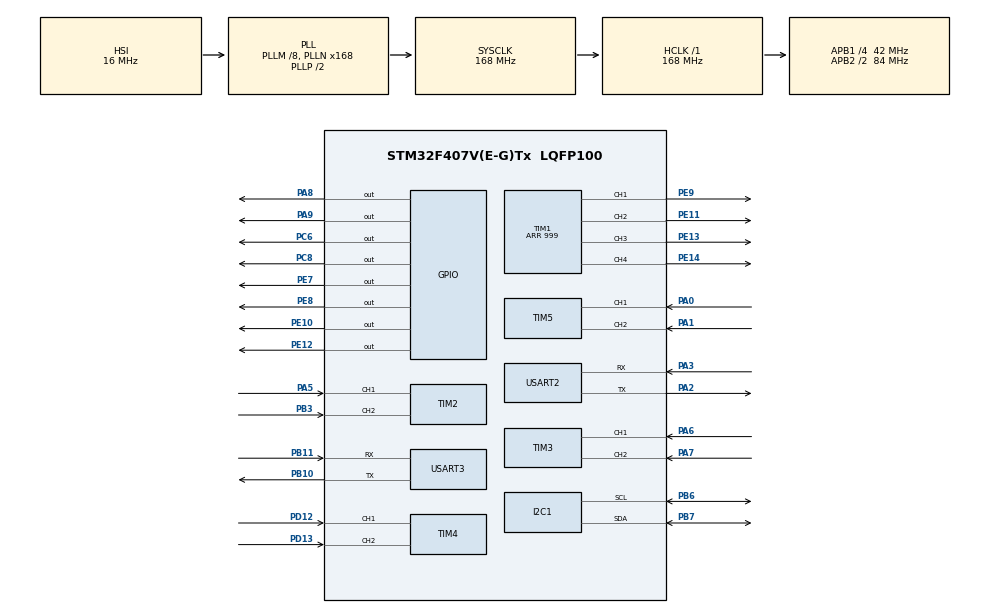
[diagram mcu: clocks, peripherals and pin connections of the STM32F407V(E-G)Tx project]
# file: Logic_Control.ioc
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Dma.Request0=USART2_RX
Dma.Request1=USART3_TX
Dma.USART2_RX.0.Direction=DMA_PERIPH_TO_MEMORY
Dma.USART2_RX.0.FIFOMode=DMA_FIFOMODE_DISABLE
Dma.USART2_RX.0.Instance=DMA1_Stream5
Dma.USART2_RX.0.MemDataAlignment=DMA_MDATAALIGN_BYTE
Dma.USART2_RX.0.MemInc=DMA_MINC_ENABLE
Dma.USART2_RX.0.Mode=DMA_CIRCULAR
Dma.USART2_RX.0.PeriphDataAlignment=DMA_PDATAALIGN_BYTE
Dma.USART2_RX.0.PeriphInc=DMA_PINC_DISABLE
Dma.USART2_RX.0.Priority=DMA_PRIORITY_LOW
Dma.USART3_TX.1.Direction=DMA_MEMORY_TO_PERIPH
Dma.USART3_TX.1.FIFOMode=DMA_FIFOMODE_DISABLE
Dma.USART3_TX.1.Instance=DMA1_Stream3
Dma.USART3_TX.1.MemDataAlignment=DMA_MDATAALIGN_BYTE
Dma.USART3_TX.1.MemInc=DMA_MINC_ENABLE
Dma.USART3_TX.1.Mode=DMA_CIRCULAR
Dma.USART3_TX.1.PeriphDataAlignment=DMA_PDATAALIGN_BYTE
Dma.USART3_TX.1.PeriphInc=DMA_PINC_DISABLE
Dma.USART3_TX.1.Priority=DMA_PRIORITY_LOW
FREERTOS.Queues01=Give_Data,16,uint16_t,0,Dynamic,NULL,NULL
FREERTOS.Tasks01=defaultTask,24,128,StartDefaultTask,Default,NULL,Dynamic,NULL,NULL;Send_Data,8,256,StartTask02,Default,NULL,Dynamic,NULL,NULL;Proccess_Data,8,512,StartTask03,Default,NULL,Dynamic,NULL,NULL
Mcu.Family=STM32F4
Mcu.Name=STM32F407V(E-G)Tx
Mcu.Package=LQFP100
NVIC.DMA1_Stream3_IRQn=true\:5\:0\:false\:false\:true\:true\:false\:true\:true
NVIC.DMA1_Stream5_IRQn=true\:5\:0\:false\:false\:true\:true\:false\:true\:true
NVIC.PriorityGroup=NVIC_PRIORITYGROUP_4
NVIC.TIM7_IRQn=true\:15\:0\:false\:false\:true\:false\:false\:true\:true
NVIC.TimeBase=TIM7_IRQn
NVIC.TimeBaseIP=TIM7
NVIC.USART2_IRQn=true\:5\:0\:false\:false\:true\:true\:true\:true\:true
NVIC.USART3_IRQn=true\:5\:0\:false\:false\:true\:true\:false\:true\:true
PA0-WKUP.Signal=S_TIM5_CH1
PA1.Signal=S_TIM5_CH2
PA13.Mode=Serial_Wire
PA13.Signal=SYS_JTMS-SWDIO
PA14.Mode=Serial_Wire
PA14.Signal=SYS_JTCK-SWCLK
PA2.Mode=Asynchronous
PA2.Signal=USART2_TX
PA3.Mode=Asynchronous
PA3.Signal=USART2_RX
PA5.Signal=S_TIM2_CH1_ETR
PA6.Signal=S_TIM3_CH1
PA7.Signal=S_TIM3_CH2
PA8.Signal=GPIO_Output
PA9.Signal=GPIO_Output
PB10.Mode=Asynchronous
PB10.Signal=USART3_TX
PB11.Mode=Asynchronous
PB11.Signal=USART3_RX
PB3.Signal=S_TIM2_CH2
PB6.Mode=I2C
PB6.Signal=I2C1_SCL
PB7.Mode=I2C
PB7.Signal=I2C1_SDA
PC6.Signal=GPIO_Output
PC8.Signal=GPIO_Output
PD12.Signal=S_TIM4_CH1
PD13.Signal=S_TIM4_CH2
PE10.Signal=GPIO_Output
PE11.Signal=S_TIM1_CH2
PE12.Signal=GPIO_Output
PE13.Signal=S_TIM1_CH3
PE14.Signal=S_TIM1_CH4
PE7.Signal=GPIO_Output
PE8.Signal=GPIO_Output
PE9.Signal=S_TIM1_CH1
PH0-OSC_IN.Mode=HSE-External-Oscillator
PH0-OSC_IN.Signal=RCC_OSC_IN
PH1-OSC_OUT.Mode=HSE-External-Oscillator
PH1-OSC_OUT.Signal=RCC_OSC_OUT
ProjectManager.HeapSize=0x200
ProjectManager.StackSize=0x400
ProjectManager.TargetToolchain=CMake
RCC.48MHZClocksFreq_Value=84000000
RCC.AHBFreq_Value=168000000
RCC.APB1CLKDivider=RCC_HCLK_DIV4
RCC.APB1Freq_Value=42000000
RCC.APB1TimFreq_Value=84000000
RCC.APB2CLKDivider=RCC_HCLK_DIV2
RCC.APB2Freq_Value=84000000
RCC.APB2TimFreq_Value=168000000
RCC.CortexFreq_Value=168000000
RCC.HCLKFreq_Value=168000000
RCC.HSE_VALUE=25000000
RCC.HSI_VALUE=16000000
RCC.LSE_VALUE=32768
RCC.PLLM=8
RCC.PLLN=168
RCC.SYSCLKFreq_VALUE=168000000
RCC.SYSCLKSource=RCC_SYSCLKSOURCE_PLLCLK
RCC.VCOOutputFreq_Value=336000000
SH.S_TIM1_CH1.0=TIM1_CH1,PWM Generation1 CH1
SH.S_TIM1_CH2.0=TIM1_CH2,PWM Generation2 CH2
SH.S_TIM1_CH3.0=TIM1_CH3,PWM Generation3 CH3
SH.S_TIM1_CH4.0=TIM1_CH4,PWM Generation4 CH4
SH.S_TIM2_CH1_ETR.0=TIM2_CH1,Encoder_Interface
SH.S_TIM2_CH2.0=TIM2_CH2,Encoder_Interface
SH.S_TIM3_CH1.0=TIM3_CH1,Encoder_Interface
SH.S_TIM3_CH2.0=TIM3_CH2,Encoder_Interface
SH.S_TIM4_CH1.0=TIM4_CH1,Encoder_Interface
SH.S_TIM4_CH2.0=TIM4_CH2,Encoder_Interface
SH.S_TIM5_CH1.0=TIM5_CH1,Encoder_Interface
SH.S_TIM5_CH2.0=TIM5_CH2,Encoder_Interface
TIM1.Channel-PWM\ Generation1\ CH1=TIM_CHANNEL_1
TIM1.Channel-PWM\ Generation2\ CH2=TIM_CHANNEL_2
TIM1.Channel-PWM\ Generation3\ CH3=TIM_CHANNEL_3
TIM1.Channel-PWM\ Generation4\ CH4=TIM_CHANNEL_4
TIM1.Period=999
USART2.VirtualMode=VM_ASYNC
USART3.VirtualMode=VM_ASYNC
VP_FREERTOS_VS_CMSIS_V2.Mode=CMSIS_V2
VP_SYS_VS_tim7.Mode=TIM7
board=custom

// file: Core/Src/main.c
/* USER CODE BEGIN Header */
/**
  ******************************************************************************
  * @file           : main.c
  * @brief          : Main program body
  ******************************************************************************
  * @attention
  *
  * Copyright (c) 2026 STMicroelectronics.
  * All rights reserved.
  *
  * This software is licensed under terms that can be found in the LICENSE file
  * in the root directory of this software component.
  * If no LICENSE file comes with this software, it is provided AS-IS.
  *
  ******************************************************************************
  */
/* USER CODE END Header */
#include "main.h"
#include "cmsis_os.h"
#include "dma.h"
#include "i2c.h"
#include "tim.h"
#include "usart.h"
#include "gpio.h"

/* USER CODE BEGIN Includes */
#include "motor.h"

/* USER CODE END Includes */

void SystemClock_Config(void);
void MX_FREERTOS_Init(void);

int main(void)
{

  /* MCU Configuration--------------------------------------------------------*/

  /* Reset of all peripherals, Initializes the Flash interface and the Systick. */
  HAL_Init();

  /* Configure the system clock */
  SystemClock_Config();

  /* Initialize all configured peripherals */
  MX_GPIO_Init();
  MX_DMA_Init();
  MX_I2C1_Init();
  MX_TIM1_Init();
  MX_TIM2_Init();
  MX_TIM3_Init();
  MX_TIM4_Init();
  MX_TIM5_Init();
  MX_USART2_UART_Init();
  MX_USART3_UART_Init();
  /* UART self-test: send boot message so user can verify TX wiring/port */
  HAL_UART_Transmit(&huart2, (uint8_t *)"BOOT\r\n", 6, 100);
  /* USER CODE BEGIN 2 */
  Motor_Init();

  Motor_SetInversion(MOTOR_LEFT_REAR, 1);
  Motor_SetInversion(MOTOR_RIGHT_REAR, 1);

  /* 如果编码器方向接反，直接在此处修正（0=RIGHT_REAR,1=LEFT_REAR,2=RIGHT_FRONT,3=LEFT_FRONT） */
  Motor_SetEncoderInversion(MOTOR_LEFT_REAR, 1);
  Motor_SetEncoderInversion(MOTOR_LEFT_FRONT, 1);

  /* USER CODE END 2 */

  /* Init scheduler */
  osKernelInitialize();  /* Call init function for freertos objects (in cmsis_os2.c) */
  MX_FREERTOS_Init();

  /* Start scheduler */
  osKernelStart();

  /* We should never get here as control is now taken by the scheduler */

  /* Infinite loop */
  while (1)
  {

  }
}

void SystemClock_Config(void)
{
  RCC_OscInitTypeDef RCC_OscInitStruct = {0};
  RCC_ClkInitTypeDef RCC_ClkInitStruct = {0};

  /** Configure the main internal regulator output voltage
  */
  __HAL_RCC_PWR_CLK_ENABLE();
  __HAL_PWR_VOLTAGESCALING_CONFIG(PWR_REGULATOR_VOLTAGE_SCALE1);

  /** Initializes the RCC Oscillators according to the specified parameters
  * in the RCC_OscInitTypeDef structure.
  */
  RCC_OscInitStruct.OscillatorType = RCC_OSCILLATORTYPE_HSI;
  RCC_OscInitStruct.HSIState = RCC_HSI_ON;
  RCC_OscInitStruct.HSICalibrationValue = RCC_HSICALIBRATION_DEFAULT;
  RCC_OscInitStruct.PLL.PLLState = RCC_PLL_ON;
  RCC_OscInitStruct.PLL.PLLSource = RCC_PLLSOURCE_HSI;
  RCC_OscInitStruct.PLL.PLLM = 8;
  RCC_OscInitStruct.PLL.PLLN = 168;
  RCC_OscInitStruct.PLL.PLLP = RCC_PLLP_DIV2;
  RCC_OscInitStruct.PLL.PLLQ = 4;
  if (HAL_RCC_OscConfig(&RCC_OscInitStruct) != HAL_OK)
  {
    Error_Handler();
  }

  /** Initializes the CPU, AHB and APB buses clocks
  */
  RCC_ClkInitStruct.ClockType = RCC_CLOCKTYPE_HCLK|RCC_CLOCKTYPE_SYSCLK
                              |RCC_CLOCKTYPE_PCLK1|RCC_CLOCKTYPE_PCLK2;
  RCC_ClkInitStruct.SYSCLKSource = RCC_SYSCLKSOURCE_PLLCLK;
  RCC_ClkInitStruct.AHBCLKDivider = RCC_SYSCLK_DIV1;
  RCC_ClkInitStruct.APB1CLKDivider = RCC_HCLK_DIV4;
  RCC_ClkInitStruct.APB2CLKDivider = RCC_HCLK_DIV2;

  if (HAL_RCC_ClockConfig(&RCC_ClkInitStruct, FLASH_LATENCY_5) != HAL_OK)
  {
    Error_Handler();
  }
}

void HAL_TIM_PeriodElapsedCallback(TIM_HandleTypeDef *htim)
{
  if (htim->Instance == TIM7)
  {
    HAL_IncTick();
  }
}

void Error_Handler(void)
{
  __disable_irq();
  while (1)
  {
  }
}

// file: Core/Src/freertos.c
/* USER CODE BEGIN Header */
/**
  ******************************************************************************
  * File Name          : freertos.c
  * Description        : Code for freertos applications
  ******************************************************************************
  * @attention
  *
  * Copyright (c) 2026 STMicroelectronics.
  * All rights reserved.
  *
  * This software is licensed under terms that can be found in the LICENSE file
  * in the root directory of this software component.
  * If no LICENSE file comes with this software, it is provided AS-IS.
  *
  ******************************************************************************
  */
/* USER CODE END Header */

#include "FreeRTOS.h"
#include "task.h"
#include "main.h"
#include "cmsis_os.h"

/* USER CODE BEGIN Includes */

#include <stdio.h>
#include <stdlib.h>
#include <string.h>
#include <math.h>

#include "motor.h"

extern UART_HandleTypeDef huart2;
extern UART_HandleTypeDef huart3;
/* USER CODE END Includes */

/* USER CODE BEGIN Variables */

enum
{
  UART2_CMD_MAX_LEN = 32,
  UART2_CMD_QUEUE_DEPTH = 16,
  UART2_RX_FRAME_SIZE = 64,

  UART3_CMD_MAX_LEN = 32,
  UART3_RX_FRAME_SIZE = 32,
};

static uint8_t uart2_rx_frame[UART2_RX_FRAME_SIZE];
static char uart2_rx_line[UART2_CMD_MAX_LEN];
static uint8_t uart2_rx_len;
static char uart2_cmd_queue[UART2_CMD_QUEUE_DEPTH][UART2_CMD_MAX_LEN];
static volatile uint8_t uart2_cmd_head;
static volatile uint8_t uart2_cmd_tail;
static volatile uint8_t uart2_cmd_count;

static uint8_t uart3_rx_frame[UART3_RX_FRAME_SIZE];
static char uart3_rx_line[UART3_CMD_MAX_LEN];
static uint8_t uart3_rx_len;

/* UART2 数组模式状态机 */
static uint8_t uart2_in_array;

static float base_speed_percent = 0.0f;

/* UART3 发送函数前置声明 */
static void UART3_SendText(const char *text);

/* Mecanum 分轮模式已移除；mecanum_mode_active / mecanum_last_targets 不再使用 */
static float heading_pitch_lpf = 0.0f;
static uint8_t heading_pitch_lpf_initialized = 0;

typedef enum
{
  MOTION_KIND_FORWARD = 0,
  MOTION_KIND_CIRCLE = 1,
  MOTION_KIND_QUARTER_TURN_LEFT = 2,
  MOTION_KIND_QUARTER_TURN_RIGHT = 3,
} MotionKind_t;

typedef struct
{
  MotionKind_t kind;
  float steps;
  int dir;
  uint8_t source;   /* 2 = UART2, 3 = UART3 */
} MotionRequest_t;

enum
{
  MOTION_QUEUE_DEPTH = 16,
};

static MotionRequest_t motion_queue[MOTION_QUEUE_DEPTH];
static volatile uint8_t motion_queue_head;
static volatile uint8_t motion_queue_tail;
static volatile uint8_t motion_queue_count;
static uint8_t motion_active;
static MotionRequest_t motion_current;
static uint32_t motion_start_tick;

/* Mecanum_SetMotion 已移除 */

/* 物理参数已集中到 config.h */
static void UART2_SendText(const char *text);

#include "config.h"

static uint8_t MotionQueue_Enqueue(const MotionRequest_t *request);
static void MotionQueue_Clear(void);
static uint8_t Motion_StartRequest(const MotionRequest_t *request);
static uint8_t Motion_Tick(void);

static uint32_t Motion_ComputeTargetCounts(MotionKind_t kind, float steps)
{
  if (steps <= 0.0f)
  {
    return 0U;
  }

  float circumference = (float)M_PI * WHEEL_DIAM_M;

  float wheel_travel = 0.0f;

  if (kind == MOTION_KIND_CIRCLE)
  {
    wheel_travel = steps * CIRCLE_TURN_WHEEL_TRAVEL_M * TURN_CORRECTION_FACTOR;
  }
  else if (kind == MOTION_KIND_QUARTER_TURN_LEFT)
  {
    wheel_travel = steps * CIRCLE_TURN_WHEEL_TRAVEL_M * QUARTER_TURN_LEFT_CORRECTION_FACTOR;
  }
  else if (kind == MOTION_KIND_QUARTER_TURN_RIGHT)
  {
    wheel_travel = steps * CIRCLE_TURN_WHEEL_TRAVEL_M * QUARTER_TURN_RIGHT_CORRECTION_FACTOR;
  }
  else
  {
    wheel_travel = steps * GRID_SIZE_M * FORWARD_CORRECTION_FACTOR;
  }

  float wheel_revs = wheel_travel / circumference;
  float counts_per_wheel_rev = (float)(ENCODER_LINES * ENCODER_QUADRATURE * GEAR_RATIO);
  return (uint32_t)roundf(wheel_revs * counts_per_wheel_rev);
}

static uint8_t MotionQueue_Enqueue(const MotionRequest_t *request)
{
  if (request == NULL)
  {
    return 0U;
  }

  if (motion_queue_count >= MOTION_QUEUE_DEPTH)
  {
    return 0U;
  }

  motion_queue[motion_queue_tail] = *request;
  motion_queue_tail = (uint8_t)((motion_queue_tail + 1U) % MOTION_QUEUE_DEPTH);
  motion_queue_count++;
  return 1U;
}

static void MotionQueue_Clear(void)
{
  motion_queue_head = 0U;
  motion_queue_tail = 0U;
  motion_queue_count = 0U;
}

static uint8_t Motion_StartRequest(const MotionRequest_t *request)
{
  if ((request == NULL) || motion_active)
  {
    return 0U;
  }

  uint32_t target_counts = Motion_ComputeTargetCounts(request->kind, request->steps);
  if (target_counts == 0U)
  {
    return 0U;
  }

  motion_current = *request;
  motion_start_tick = osKernelGetTickCount();

  base_speed_percent = 0.0f;
  Motor_SetTargetPercent(MOTOR_RIGHT_REAR, 0.0f);
  Motor_SetTargetPercent(MOTOR_LEFT_REAR, 0.0f);
  Motor_SetTargetPercent(MOTOR_RIGHT_FRONT, 0.0f);
  Motor_SetTargetPercent(MOTOR_LEFT_FRONT, 0.0f);
  Motor_ResetPID(MOTOR_RIGHT_REAR);
  Motor_ResetPID(MOTOR_LEFT_REAR);
  Motor_ResetPID(MOTOR_RIGHT_FRONT);
  Motor_ResetPID(MOTOR_LEFT_FRONT);

  float pwm_limit = (COMMAND_MAX_OUTPUT_PERCENT / 100.0f) * MOTOR_PWM_PERIOD;
  Motor_SetOutputLimit(MOTOR_RIGHT_REAR,  -pwm_limit, pwm_limit);
  Motor_SetOutputLimit(MOTOR_LEFT_REAR,   -pwm_limit, pwm_limit);
  Motor_SetOutputLimit(MOTOR_RIGHT_FRONT, -pwm_limit, pwm_limit);
  Motor_SetOutputLimit(MOTOR_LEFT_FRONT,  -pwm_limit, pwm_limit);

  /* Restore per-wheel position output limits to their normal operation values.
   * Startup limits (POSITION_OUTPUT_LIMIT_STARTUP_xx) are only for power-on; once
   * a real position command starts, switch to the full limit. */
  Motor_SetPositionOutputLimit(MOTOR_RIGHT_REAR,  POSITION_OUTPUT_LIMIT_RR);
  Motor_SetPositionOutputLimit(MOTOR_LEFT_REAR,   POSITION_OUTPUT_LIMIT_RL);
  Motor_SetPositionOutputLimit(MOTOR_RIGHT_FRONT, POSITION_OUTPUT_LIMIT_FR);
  Motor_SetPositionOutputLimit(MOTOR_LEFT_FRONT,  POSITION_OUTPUT_LIMIT_FL);

  if ((request->kind == MOTION_KIND_CIRCLE) || (request->kind == MOTION_KIND_QUARTER_TURN_LEFT) || (request->kind == MOTION_KIND_QUARTER_TURN_RIGHT))
  {
    int32_t signed_counts = (request->dir >= 0) ? (int32_t)target_counts : -(int32_t)target_counts;

    Motor_SetPositionTarget(MOTOR_RIGHT_REAR,  -signed_counts);
    Motor_SetPositionTarget(MOTOR_LEFT_REAR,    signed_counts);
    Motor_SetPositionTarget(MOTOR_RIGHT_FRONT, -signed_counts);
    Motor_SetPositionTarget(MOTOR_LEFT_FRONT,   signed_counts);
  }
  else
  {
    int32_t signed_counts = (request->dir >= 0) ? (int32_t)target_counts : -(int32_t)target_counts;
    Motor_SetPositionTarget(MOTOR_RIGHT_REAR,  signed_counts);
    Motor_SetPositionTarget(MOTOR_LEFT_REAR,   signed_counts);
    Motor_SetPositionTarget(MOTOR_RIGHT_FRONT, signed_counts);
    Motor_SetPositionTarget(MOTOR_LEFT_FRONT,  signed_counts);
  }

  motion_active = 1U;
  return 1U;
}

static uint8_t Motion_Tick(void)
{
  if (!motion_active)
  {
    if (motion_queue_count == 0U)
    {
      return 0U;
    }

    MotionRequest_t request = motion_queue[motion_queue_head];
    motion_queue_head = (uint8_t)((motion_queue_head + 1U) % MOTION_QUEUE_DEPTH);
    motion_queue_count--;
    return Motion_StartRequest(&request);
  }

  uint8_t all_reached = 1U;
  for (MotorId_t motor = MOTOR_RIGHT_REAR; motor < MOTOR_COUNT; motor++)
  {
    if (!Motor_PositionReached(motor, POSITION_TOLERANCE_COUNTS))
    {
      all_reached = 0U;
      break;
    }
  }

  uint32_t timeout = ((motion_current.kind == MOTION_KIND_CIRCLE) || (motion_current.kind == MOTION_KIND_QUARTER_TURN_LEFT) || (motion_current.kind == MOTION_KIND_QUARTER_TURN_RIGHT)) ? CIRCLE_TIMEOUT_MS : POSITION_TIMEOUT_MS;
  if (!all_reached && ((osKernelGetTickCount() - motion_start_tick) <= timeout))
  {
    return 0U;
  }

  Motor_ClearPositionTarget(MOTOR_RIGHT_REAR);
  Motor_ClearPositionTarget(MOTOR_LEFT_REAR);
  Motor_ClearPositionTarget(MOTOR_RIGHT_FRONT);
  Motor_ClearPositionTarget(MOTOR_LEFT_FRONT);
  Motor_StopAll();
  Motor_ResetPID(MOTOR_RIGHT_REAR);
  Motor_ResetPID(MOTOR_LEFT_REAR);
  Motor_ResetPID(MOTOR_RIGHT_FRONT);
  Motor_ResetPID(MOTOR_LEFT_FRONT);

  Motor_SetOutputLimit(MOTOR_RIGHT_REAR, -(MOTOR_PWM_PERIOD), (MOTOR_PWM_PERIOD));
  Motor_SetOutputLimit(MOTOR_LEFT_REAR,  -(MOTOR_PWM_PERIOD), (MOTOR_PWM_PERIOD));
  Motor_SetOutputLimit(MOTOR_RIGHT_FRONT, -(MOTOR_PWM_PERIOD), (MOTOR_PWM_PERIOD));
  Motor_SetOutputLimit(MOTOR_LEFT_FRONT,  -(MOTOR_PWM_PERIOD), (MOTOR_PWM_PERIOD));

  uint8_t source = motion_current.source;
  motion_active = 0U;

  /* 检查是否还有更多 motion 请求在队列中 */
  if (motion_queue_count > 0U)
  {
    /* 还有待执行的请求，不发送 STOPPED */
    return 1U;
  }

  if (source == 3)
  {
    UART3_SendText("STOPPED\r\n");
  }
  else
  {
    UART2_SendText("STOPPED\r\n");
  }

  return 1U;
}

/* steps >=1, dir = +1 forward, -1 backward, source 2=UART2 3=UART3 */
static void Mecanum_StepForward(float steps, int dir, uint8_t source)
{
  MotionRequest_t request;

  if (steps <= 0.0f)
  {
    return;
  }

  request.kind = MOTION_KIND_FORWARD;
  request.steps = steps;
  request.dir = dir;
  request.source = source;
  (void)MotionQueue_Enqueue(&request);
}

/* steps >= 1, dir = +1 顺时针, -1 逆时针, source 2=UART2 3=UART3 */
static void Mecanum_StepCircle(float steps, int dir, uint8_t source)
{
  MotionRequest_t request;

  if (steps <= 0.0f)
  {
    return;
  }

  request.kind = MOTION_KIND_CIRCLE;
  request.steps = steps;
  request.dir = dir;
  request.source = source;
  (void)MotionQueue_Enqueue(&request);
}

/* steps >= 0.25, dir = +1 顺时针, -1 逆时针, source 2=UART2 3=UART3, kind=LEFT/RIGHT */
static void Mecanum_StepQuarterTurn(float steps, int dir, uint8_t source, MotionKind_t kind)
{
  MotionRequest_t request;

  if (steps <= 0.0f)
  {
    return;
  }

  request.kind = kind;
  request.steps = steps;
  request.dir = dir;
  request.source = source;
  (void)MotionQueue_Enqueue(&request);
}

/* 判断是否有活跃的 motion（正在执行 + 队列等待中） */
static uint8_t IsMotionBusy(void)
{
  return (motion_active || (motion_queue_count > 0U)) ? 1U : 0U;
}

// 航向 PID 和 Mecanum_SetMotion 均已移除

/* USER CODE END Variables */
/* Definitions for defaultTask */
osThreadId_t defaultTaskHandle;
const osThreadAttr_t defaultTask_attributes = {
  .name = "defaultTask",
  .stack_size = 128 * 4,
  .priority = (osPriority_t) osPriorityNormal,
};
/* Definitions for Send_Data */
osThreadId_t Send_DataHandle;
const osThreadAttr_t Send_Data_attributes = {
  .name = "Send_Data",
  .stack_size = 256 * 4,
  .priority = (osPriority_t) osPriorityLow,
};
/* Definitions for Proccess_Data */
osThreadId_t Proccess_DataHandle;
const osThreadAttr_t Proccess_Data_attributes = {
  .name = "Proccess_Data",
  .stack_size = 512 * 4,
  .priority = (osPriority_t) osPriorityLow,
};
/* Definitions for Give_Data */
osMessageQueueId_t Give_DataHandle;
const osMessageQueueAttr_t Give_Data_attributes = {
  .name = "Give_Data"
};

/* USER CODE BEGIN FunctionPrototypes */

static void UART2_StartReception(void);
static void UART2_EnqueueCommandFromISR(const char *command);
static uint8_t UART2_DequeueCommand(char *command);
static void UART2_SendText(const char *text);
static void UART2_HandleCommand(const char *command);
static void UART2_ProcessRxByte(uint8_t byte);
static void UART2_FinalizeLine(void);
/* USER CODE END FunctionPrototypes */

void StartDefaultTask(void *argument);
void StartTask02(void *argument);
void StartTask03(void *argument);

void MX_FREERTOS_Init(void); /* (MISRA C 2004 rule 8.1) */

void MX_FREERTOS_Init(void) {

  /* Create the queue(s) */
  /* creation of Give_Data */
  Give_DataHandle = osMessageQueueNew (16, sizeof(uint16_t), &Give_Data_attributes);

  /* Create the thread(s) */
  /* creation of defaultTask */
  defaultTaskHandle = osThreadNew(StartDefaultTask, NULL, &defaultTask_attributes);

  /* creation of Send_Data */
  Send_DataHandle = osThreadNew(StartTask02, NULL, &Send_Data_attributes);

  /* creation of Proccess_Data */
  Proccess_DataHandle = osThreadNew(StartTask03, NULL, &Proccess_Data_attributes);

}

void StartDefaultTask(void *argument)
{
  for(;;)
  {
    osDelay(1);
  }
}

void StartTask02(void *argument)
{
  /* USER CODE BEGIN StartTask02 */
  UART2_StartReception();

  /* 启动 UART3 接收 */
  if (HAL_UARTEx_ReceiveToIdle_IT(&huart3, uart3_rx_frame, UART3_RX_FRAME_SIZE) != HAL_OK)
  {
    Error_Handler();
  }

  /* Infinite loop */
  for(;;)
  {
    char command[UART2_CMD_MAX_LEN];

    while (UART2_DequeueCommand(command) != 0U)
    {
      UART2_HandleCommand(command);
    }

    osDelay(1);
  }
  /* USER CODE END StartTask02 */
}

void StartTask03(void *argument)
{
  /* USER CODE BEGIN StartTask03 */
  /* Infinite loop - fixed 10ms periodic using vTaskDelayUntil */
  TickType_t xLastWakeTime = xTaskGetTickCount();
  const TickType_t xPeriod = pdMS_TO_TICKS(10);
  float dt_s = 0.01f;  /* fixed 10ms */

  /* Apply startup position PID output limit to prevent aggressive correction
   * at power-on. Each motor's position output limit is clamped to its own
   * POSITION_OUTPUT_LIMIT_STARTUP_xx (counts/sec). Adjust in config.h. */
  Motor_SetPositionOutputLimit(MOTOR_RIGHT_REAR,  POSITION_OUTPUT_LIMIT_RR);
  Motor_SetPositionOutputLimit(MOTOR_LEFT_REAR,   POSITION_OUTPUT_LIMIT_RL);
  Motor_SetPositionOutputLimit(MOTOR_RIGHT_FRONT, POSITION_OUTPUT_LIMIT_FR);
  Motor_SetPositionOutputLimit(MOTOR_LEFT_FRONT,  POSITION_OUTPUT_LIMIT_FL);

  for(;;)
  {
    vTaskDelayUntil(&xLastWakeTime, xPeriod);

    (void)Motion_Tick();

    float heading_correction = 0.0f;
    uint8_t motion_busy_local = (base_speed_percent != 0.0f) || motion_active || Motor_HasActivePositionTarget();

    // 航向控制循环已移除 MPU6050 逻辑，保持 heading_correction = 0
    (void)heading_pitch_lpf_initialized;
    (void)heading_pitch_lpf;

    if (motion_busy_local)
    {
      Motor_SetTargetBiasPercent(MOTOR_RIGHT_REAR,  heading_correction);
      Motor_SetTargetBiasPercent(MOTOR_LEFT_REAR,  -heading_correction);
      Motor_SetTargetBiasPercent(MOTOR_RIGHT_FRONT, heading_correction);
      Motor_SetTargetBiasPercent(MOTOR_LEFT_FRONT,  -heading_correction);
    }
    else
    {
      Motor_ClearTargetBias(MOTOR_RIGHT_REAR);
      Motor_ClearTargetBias(MOTOR_LEFT_REAR);
      Motor_ClearTargetBias(MOTOR_RIGHT_FRONT);
      Motor_ClearTargetBias(MOTOR_LEFT_FRONT);
    }

    // 应用基础速度 + 航向校正差速（mecanum_mode_active 已移除，不再有分轮模式）
    if (base_speed_percent != 0.0f)
    {
      static float last_applied_percent = 0.0f;
      if (base_speed_percent != last_applied_percent)
      {
        Motor_SetTargetPercent(MOTOR_RIGHT_REAR, base_speed_percent);
        Motor_SetTargetPercent(MOTOR_LEFT_REAR, base_speed_percent);
        Motor_SetTargetPercent(MOTOR_RIGHT_FRONT, base_speed_percent);
        Motor_SetTargetPercent(MOTOR_LEFT_FRONT, base_speed_percent);
        last_applied_percent = base_speed_percent;
      }
    }
    else
    {
      static float last_zero_percent = -1.0f;
      if (last_zero_percent != 0.0f)
      {
        Motor_SetTargetPercent(MOTOR_RIGHT_REAR, 0.0f);
        Motor_SetTargetPercent(MOTOR_LEFT_REAR, 0.0f);
        Motor_SetTargetPercent(MOTOR_RIGHT_FRONT, 0.0f);
        Motor_SetTargetPercent(MOTOR_LEFT_FRONT, 0.0f);
        last_zero_percent = 0.0f;
      }
    }

    // 电机 PID 控制循环
    Motor_UpdateControl(dt_s);

  }
  /* USER CODE END StartTask03 */
}

/* USER CODE BEGIN 4 */

/* Mecanum_SetMotion 已移除；平移模式不再支持 */

/* Heading PID and associated low-pass filter removed; functionality deprecated. */

static void UART2_StartReception(void)
{
  uart2_rx_len = 0;
  uart2_cmd_head = 0;
  uart2_cmd_tail = 0;
  uart2_cmd_count = 0;

  if (HAL_UARTEx_ReceiveToIdle_IT(&huart2, uart2_rx_frame, UART2_RX_FRAME_SIZE) != HAL_OK)
  {
    Error_Handler();
  }
}

static void UART2_SendText(const char *text)
{
  HAL_UART_Transmit(&huart2, (uint8_t *)text, (uint16_t)strlen(text), HAL_MAX_DELAY);
}

static void UART3_SendText(const char *text)
{
  HAL_UART_Transmit(&huart3, (uint8_t *)text, (uint16_t)strlen(text), HAL_MAX_DELAY);
}

static void UART2_EnqueueCommandFromISR(const char *command)
{
  UBaseType_t saved = taskENTER_CRITICAL_FROM_ISR();

  if (uart2_cmd_count < UART2_CMD_QUEUE_DEPTH)
  {
    strncpy(uart2_cmd_queue[uart2_cmd_tail], command, UART2_CMD_MAX_LEN - 1U);
    uart2_cmd_queue[uart2_cmd_tail][UART2_CMD_MAX_LEN - 1U] = '\0';
    uart2_cmd_tail = (uint8_t)((uart2_cmd_tail + 1U) % UART2_CMD_QUEUE_DEPTH);
    uart2_cmd_count++;
  }

  taskEXIT_CRITICAL_FROM_ISR(saved);
}

static uint8_t UART2_DequeueCommand(char *command)
{
  uint8_t has_command = 0U;

  taskENTER_CRITICAL();

  if (uart2_cmd_count > 0U)
  {
    strncpy(command, uart2_cmd_queue[uart2_cmd_head], UART2_CMD_MAX_LEN - 1U);
    command[UART2_CMD_MAX_LEN - 1U] = '\0';
    uart2_cmd_head = (uint8_t)((uart2_cmd_head + 1U) % UART2_CMD_QUEUE_DEPTH);
    uart2_cmd_count--;
    has_command = 1U;
  }

  taskEXIT_CRITICAL();

  return has_command;
}

static void UART2_ProcessRxByte(uint8_t byte)
{
  if ((byte == '\r') || (byte == '\n'))
  {
    UART2_FinalizeLine();
    return;
  }

  if (byte == '{')
  {
    uart2_in_array = 1;
    uart2_rx_len = 0;
    return;
  }
  if (byte == '}')
  {
    if (uart2_rx_len > 0U)
    {
      uart2_rx_line[uart2_rx_len] = '\0';
      strncpy(uart2_cmd_queue[uart2_cmd_tail], uart2_rx_line, UART2_CMD_MAX_LEN - 1U);
      uart2_cmd_queue[uart2_cmd_tail][UART2_CMD_MAX_LEN - 1U] = '\0';
      uart2_cmd_tail = (uint8_t)((uart2_cmd_tail + 1U) % UART2_CMD_QUEUE_DEPTH);
      uart2_cmd_count++;
      uart2_rx_len = 0;
    }
    uart2_in_array = 0;
    return;
  }
  if (byte == ',')
  {
    if (uart2_in_array && (uart2_rx_len > 0U))
    {
      uart2_rx_line[uart2_rx_len] = '\0';
      strncpy(uart2_cmd_queue[uart2_cmd_tail], uart2_rx_line, UART2_CMD_MAX_LEN - 1U);
      uart2_cmd_queue[uart2_cmd_tail][UART2_CMD_MAX_LEN - 1U] = '\0';
      uart2_cmd_tail = (uint8_t)((uart2_cmd_tail + 1U) % UART2_CMD_QUEUE_DEPTH);
      uart2_cmd_count++;
      uart2_rx_len = 0;
    }
    return;
  }

  if (uart2_rx_len < (UART2_CMD_MAX_LEN - 1U))
  {
    uart2_rx_line[uart2_rx_len++] = (char)byte;
  }
  else
  {
    uart2_rx_len = 0U;
  }
}

static void UART2_FinalizeLine(void)
{
  if (uart2_in_array)
  {
    return;
  }

  if (uart2_rx_len > 0U)
  {
    uart2_rx_line[uart2_rx_len] = '\0';
    UART2_EnqueueCommandFromISR(uart2_rx_line);
    uart2_rx_len = 0U;
  }
}

/* UART3 指令处理 */

static void UART3_HandleCommand(const char *command)
{
  const char *cursor = command;

  while ((*cursor == ' ') || (*cursor == '\t'))
    cursor++;

  /* STOP 命令不受互斥限制 */
  if (strncmp(cursor, "STOP", 4) == 0)
  {
    cursor += 4;
    while ((*cursor == ' ') || (*cursor == '\t'))
      cursor++;
    if (*cursor != '\0')
      return;

    base_speed_percent = 0.0f;
    MotionQueue_Clear();
    motion_active = 0U;
    Motor_ClearPositionTarget(MOTOR_RIGHT_REAR);
    Motor_ClearPositionTarget(MOTOR_LEFT_REAR);
    Motor_ClearPositionTarget(MOTOR_RIGHT_FRONT);
    Motor_ClearPositionTarget(MOTOR_LEFT_FRONT);
    Motor_SetTargetPercent(MOTOR_RIGHT_REAR, 0.0f);
    Motor_SetTargetPercent(MOTOR_LEFT_REAR, 0.0f);
    Motor_SetTargetPercent(MOTOR_RIGHT_FRONT, 0.0f);
    Motor_SetTargetPercent(MOTOR_LEFT_FRONT, 0.0f);
    Motor_StopAll();
    Motor_ResetPID(MOTOR_RIGHT_REAR);
    Motor_ResetPID(MOTOR_LEFT_REAR);
    Motor_ResetPID(MOTOR_RIGHT_FRONT);
    Motor_ResetPID(MOTOR_LEFT_FRONT);
    Motor_SetOutputLimit(MOTOR_RIGHT_REAR, -(MOTOR_PWM_PERIOD), (MOTOR_PWM_PERIOD));
    Motor_SetOutputLimit(MOTOR_LEFT_REAR,  -(MOTOR_PWM_PERIOD), (MOTOR_PWM_PERIOD));
    Motor_SetOutputLimit(MOTOR_RIGHT_FRONT, -(MOTOR_PWM_PERIOD), (MOTOR_PWM_PERIOD));
    Motor_SetOutputLimit(MOTOR_LEFT_FRONT,  -(MOTOR_PWM_PERIOD), (MOTOR_PWM_PERIOD));
    return;
  }

  /* CIRCLE n 指令 — 受互斥保护 */
  if (strncmp(cursor, "CIRCLE", 6) == 0)
  {
    if (IsMotionBusy())
      return;

    cursor += 6;
    while ((*cursor == ' ') || (*cursor == '\t'))
      cursor++;

    int steps = 1;
    if (*cursor != '\0')
    {
      char *endp = NULL;
      long parsed = strtol(cursor, &endp, 10);
      if ((endp == cursor) || (parsed <= 0))
        return;
      while ((*endp == ' ') || (*endp == '\t'))
        endp++;
      if (*endp != '\0')
        return;
      steps = (int)parsed;
    }

    Mecanum_StepCircle(steps, +1, 3);
    return;
  }
}

static void UART3_ProcessByte(uint8_t byte)
{
  if ((byte == '\r') || (byte == '\n'))
  {
    if (uart3_rx_len > 0U)
    {
      uart3_rx_line[uart3_rx_len] = '\0';
      UART3_HandleCommand(uart3_rx_line);
      uart3_rx_len = 0;
    }
    return;
  }

  if (uart3_rx_len < (UART3_CMD_MAX_LEN - 1U))
  {
    uart3_rx_line[uart3_rx_len++] = (char)byte;
  }
  else
  {
    uart3_rx_len = 0U;
  }
}

static void UART2_HandleCommand(const char *command)
{
  const char *cursor = command;

  while ((*cursor == ' ') || (*cursor == '\t'))
  {
    cursor++;
  }

  if (strncmp(cursor, "STOP", 4) == 0)
  {
    cursor += 4;
    while ((*cursor == ' ') || (*cursor == '\t'))
    {
      cursor++;
    }

    if (*cursor != '\0')
    {
      return;
    }

    base_speed_percent = 0.0f;
    MotionQueue_Clear();
    motion_active = 0U;
    Motor_ClearPositionTarget(MOTOR_RIGHT_REAR);
    Motor_ClearPositionTarget(MOTOR_LEFT_REAR);
    Motor_ClearPositionTarget(MOTOR_RIGHT_FRONT);
    Motor_ClearPositionTarget(MOTOR_LEFT_FRONT);
    Motor_SetTargetPercent(MOTOR_RIGHT_REAR, 0.0f);
    Motor_SetTargetPercent(MOTOR_LEFT_REAR, 0.0f);
    Motor_SetTargetPercent(MOTOR_RIGHT_FRONT, 0.0f);
    Motor_SetTargetPercent(MOTOR_LEFT_FRONT, 0.0f);
    Motor_StopAll();
    Motor_ResetPID(MOTOR_RIGHT_REAR);
    Motor_ResetPID(MOTOR_LEFT_REAR);
    Motor_ResetPID(MOTOR_RIGHT_FRONT);
    Motor_ResetPID(MOTOR_LEFT_FRONT);
    Motor_SetOutputLimit(MOTOR_RIGHT_REAR, -(MOTOR_PWM_PERIOD), (MOTOR_PWM_PERIOD));
    Motor_SetOutputLimit(MOTOR_LEFT_REAR,  -(MOTOR_PWM_PERIOD), (MOTOR_PWM_PERIOD));
    Motor_SetOutputLimit(MOTOR_RIGHT_FRONT, -(MOTOR_PWM_PERIOD), (MOTOR_PWM_PERIOD));
    Motor_SetOutputLimit(MOTOR_LEFT_FRONT,  -(MOTOR_PWM_PERIOD), (MOTOR_PWM_PERIOD));
    UART2_SendText("STOPPED\r\n");
    return;
  }

  if (strncmp(cursor, "LEFT", 4) == 0)
  {
    int steps = 1;
    cursor += 4;
    while ((*cursor == ' ') || (*cursor == '\t'))
    {
      cursor++;
    }
    if (*cursor != '\0')
    {
      char *end_ptr_local = NULL;
      long parsed = strtol(cursor, &end_ptr_local, 10);
      if ((end_ptr_local == cursor) || (parsed <= 0))
      {
        return;
      }
      while ((*end_ptr_local == ' ') || (*end_ptr_local == '\t'))
      {
        end_ptr_local++;
      }
      if (*end_ptr_local != '\0')
      {
        return;
      }
      steps = (int)parsed;
    }
    /* LEFT N: 左转90°(逆时针) → 直走N格 */
    Mecanum_StepQuarterTurn(QUARTER_TURN_STEPS, -1, 2, MOTION_KIND_QUARTER_TURN_LEFT);
    Mecanum_StepForward((float)steps, +1, 2);
    return;
  }

  if (strncmp(cursor, "RIGHT", 5) == 0)
  {
    int steps = 1;
    cursor += 5;
    while ((*cursor == ' ') || (*cursor == '\t'))
    {
      cursor++;
    }
    if (*cursor != '\0')
    {
      char *end_ptr_local = NULL;
      long parsed = strtol(cursor, &end_ptr_local, 10);
      if ((end_ptr_local == cursor) || (parsed <= 0))
      {
        return;
      }
      while ((*end_ptr_local == ' ') || (*end_ptr_local == '\t'))
      {
        end_ptr_local++;
      }
      if (*end_ptr_local != '\0')
      {
        return;
      }
      steps = (int)parsed;
    }
    /* RIGHT N: 右转90°(顺时针) → 直走N格 */
    Mecanum_StepQuarterTurn(QUARTER_TURN_STEPS, +1, 2, MOTION_KIND_QUARTER_TURN_RIGHT);
    Mecanum_StepForward((float)steps, +1, 2);
    return;
  }

  if ((strncmp(cursor, "FORWARD", 7) == 0) || (strncmp(cursor, "BACKWARD", 8) == 0) || (strncmp(cursor, "BACK", 4) == 0))
  {
    int steps = 1;
    int direction = +1;

    if (strncmp(cursor, "BACKWARD", 8) == 0)
    {
      cursor += 8;
      direction = -1;
    }
    else if (strncmp(cursor, "BACK", 4) == 0)
    {
      cursor += 4;
      direction = -1;
    }
    else
    {
      cursor += 7;
    }

    while ((*cursor == ' ') || (*cursor == '\t'))
    {
      cursor++;
    }
    if (*cursor != '\0')
    {
      char *end_ptr_local = NULL;
      long parsed = strtol(cursor, &end_ptr_local, 10);
      if ((end_ptr_local == cursor) || (parsed <= 0))
      {
        return;
      }
      while ((*end_ptr_local == ' ') || (*end_ptr_local == '\t'))
      {
        end_ptr_local++;
      }
      if (*end_ptr_local != '\0')
      {
        return;
      }
      steps = (int)parsed;
    }
    Mecanum_StepForward(steps, direction, 2);
    return;
  }

  if (strncmp(cursor, "CIRCLE", 6) == 0)
  {
    int steps = 1;
    cursor += 6;
    while ((*cursor == ' ') || (*cursor == '\t'))
    {
      cursor++;
    }
    if (*cursor != '\0')
    {
      char *end_ptr_local = NULL;
      long parsed = strtol(cursor, &end_ptr_local, 10);
      if ((end_ptr_local == cursor) || (parsed <= 0))
      {
        return;
      }
      while ((*end_ptr_local == ' ') || (*end_ptr_local == '\t'))
      {
        end_ptr_local++;
      }
      if (*end_ptr_local != '\0')
      {
        return;
      }
      steps = (int)parsed;
    }
    Mecanum_StepCircle(steps, +1, 2);
    return;
  }

  if (strncmp(cursor, "RUN", 3) == 0)
  {
    cursor += 3;
    while ((*cursor == ' ') || (*cursor == '\t'))
    {
      cursor++;
    }

    if (*cursor == '\0')
    {
      return;
    }

    char *end_ptr = NULL;
    long parsed = strtol(cursor, &end_ptr, 10);
    if ((end_ptr == cursor) || (parsed < -100L) || (parsed > 100L))
    {
      return;
    }
    while ((*end_ptr == ' ') || (*end_ptr == '\t'))
    {
      end_ptr++;
    }
    if (*end_ptr != '\0')
    {
      return;
    }

    base_speed_percent = (float)parsed;
    Motor_ResetPID(MOTOR_RIGHT_REAR);
    Motor_ResetPID(MOTOR_LEFT_REAR);
    Motor_ResetPID(MOTOR_RIGHT_FRONT);
    Motor_ResetPID(MOTOR_LEFT_FRONT);
    if (base_speed_percent > COMMAND_MAX_OUTPUT_PERCENT) base_speed_percent = COMMAND_MAX_OUTPUT_PERCENT;
    if (base_speed_percent < -COMMAND_MAX_OUTPUT_PERCENT) base_speed_percent = -COMMAND_MAX_OUTPUT_PERCENT;

    float pwm_limit = (COMMAND_MAX_OUTPUT_PERCENT / 100.0f) * MOTOR_PWM_PERIOD;
    Motor_SetOutputLimit(MOTOR_RIGHT_REAR,  -pwm_limit, pwm_limit);
    Motor_SetOutputLimit(MOTOR_LEFT_REAR,   -pwm_limit, pwm_limit);
    Motor_SetOutputLimit(MOTOR_RIGHT_FRONT, -pwm_limit, pwm_limit);
    Motor_SetOutputLimit(MOTOR_LEFT_FRONT,  -pwm_limit, pwm_limit);

    Motor_SetTargetPercent(MOTOR_RIGHT_REAR, base_speed_percent);
    Motor_SetTargetPercent(MOTOR_LEFT_REAR, base_speed_percent);
    Motor_SetTargetPercent(MOTOR_RIGHT_FRONT, base_speed_percent);
    Motor_SetTargetPercent(MOTOR_LEFT_FRONT, base_speed_percent);
    return;
  }

  if (strncmp(cursor, "MPU", 3) == 0)
  {
    UART2_SendText("MPU functionality disabled in this build\r\n");
    return;
  }

  if (strncmp(cursor, "PID", 3) == 0)
  {
    cursor += 3;
    while ((*cursor == ' ') || (*cursor == '\t'))
    {
      cursor++;
    }

    char *endp = NULL;
    float kp = strtof(cursor, &endp);
    if (endp == cursor)
    {
      return;
    }

    cursor = endp;
    while ((*cursor == ' ') || (*cursor == '\t'))
    {
      cursor++;
    }

    float ki = strtof(cursor, &endp);
    if (endp == cursor)
    {
      return;
    }

    cursor = endp;
    while ((*cursor == ' ') || (*cursor == '\t'))
    {
      cursor++;
    }

    float kd = strtof(cursor, &endp);
    if (endp == cursor)
    {
      return;
    }

    while ((*endp == ' ') || (*endp == '\t'))
    {
      endp++;
    }
    if (*endp != '\0')
    {
      return;
    }

    (void)kp; (void)ki; (void)kd;
    UART2_SendText("Heading PID removed in this build\r\n");
    return;
  }

  return;
}

void HAL_UARTEx_RxEventCallback(UART_HandleTypeDef *huart, uint16_t Size)
{
  if (huart->Instance == USART2)
  {
    for (uint16_t index = 0U; index < Size; index++)
    {
      UART2_ProcessRxByte(uart2_rx_frame[index]);
    }

    UART2_FinalizeLine();

    if (HAL_UARTEx_ReceiveToIdle_IT(&huart2, uart2_rx_frame, UART2_RX_FRAME_SIZE) != HAL_OK)
    {
      Error_Handler();
    }
  }

  if (huart->Instance == USART3)
  {
    for (uint16_t index = 0U; index < Size; index++)
    {
      UART3_ProcessByte(uart3_rx_frame[index]);
    }

    if (HAL_UARTEx_ReceiveToIdle_IT(&huart3, uart3_rx_frame, UART3_RX_FRAME_SIZE) != HAL_OK)
    {
      Error_Handler();
    }
  }
}

void HAL_UART_ErrorCallback(UART_HandleTypeDef *huart)
{
  if (huart->Instance == USART2)
  {
    uart2_rx_len = 0U;
    (void)HAL_UARTEx_ReceiveToIdle_IT(&huart2, uart2_rx_frame, UART2_RX_FRAME_SIZE);
  }

  if (huart->Instance == USART3)
  {
    uart3_rx_len = 0U;
    (void)HAL_UARTEx_ReceiveToIdle_IT(&huart3, uart3_rx_frame, UART3_RX_FRAME_SIZE);
  }
}

/* USER CODE END 4 */
